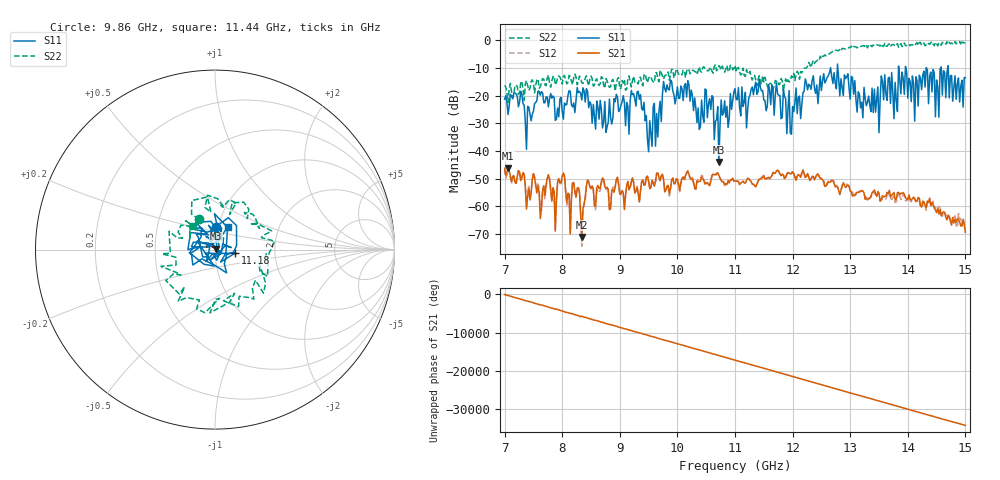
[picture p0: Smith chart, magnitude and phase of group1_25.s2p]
! 4/11/2025 3:28:49 PM
! C:\ANRITSUVNA\LELEC2350\LAB1_2025\GROUP1_25.S2P
! CHANNEL.1
! TR.MEASUREMENT
! CORRECTED.DATA
! RF.CORRECTION: FULL.TWO.PORT.CAL.PORT.1.2
! AVERAGING.OFF
! IF.BANDWIDTH: 300HZ
! SWEEPTYPE:  FREQ.SWEEP(Linear)
! Reference Plane Port Info
! PORT:  PORT1  PORT2
! DISTANCE:  0  m  0  m
! TIME:  0  s  0  s
! PHASE.OFFSET:  0 °  0 °
! LOSS:  0  dB  0  dB
! REF.LOSS:  0  dB  0  dB
! REF.FREQ:  0  Hz  0  Hz
! Power Info
! POWER:  5  dBm  5  dBm
! EFF.POWER:  5  dBm  5  dBm
# GHZ S RI R 50.0
! FREQ.GHZ  S11RE  S11IM  S21RE  S21IM  S12RE  S12IM  S22RE  S22IM
!; PortSelection: Port_12
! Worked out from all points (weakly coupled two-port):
!   401 points, 7 GHz to 15 GHz, reference 50 ohm
!   highest |S21| = -46.12 dB at 7.06 GHz (marker M1); lowest = -71.1 dB at 8.34 GHz (marker M2)
!   lowest |S11| = -43.9 dB at 10.72 GHz (marker M3), VSWR 1.01, Z = 50.4 + j0.509 ohm
!   |S11| at or under -10 dB: start of sweep to 12.66 GHz; 12.79 GHz to 13.84 GHz (1.054 GHz wide, 7.91 % of centre); 13.97 GHz to 14.32 GHz (353.5 MHz wide, 2.5 % of centre) (the widest 3 of 8)
!   |S22| runs from -22.4 to 0.0 dB; largest |S21 - S12| = 0.00048
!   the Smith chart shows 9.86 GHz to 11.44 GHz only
!   S11 on the Smith chart (normalised r, x): 9.86 GHz: 0.98, +0.25; 11.18 GHz: 1.25, -0.05; 11.44 GHz: 1.11, +0.28
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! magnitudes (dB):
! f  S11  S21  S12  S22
! 7 GHz  -21.2  -46.2  -46.7  -16.3
! 7.06 GHz  -26.8  -46.1  -46.7  -22.4
! 7.42 GHz  -24.2  -53.7  -52.4  -18.1
! 7.76 GHz  -24.0  -48.6  -48.6  -12.5
! 7.86 GHz  -20.7  -54.7  -55.3  -12.8
! 8 GHz  -25.6  -49.1  -49.6  -15.7
! 8.34 GHz  -21.5  -71.1  -74.4  -15.3
! 8.46 GHz  -24.3  -51.0  -51.4  -16.4
! 8.74 GHz  -22.1  -52.9  -52.8  -17.3
! 9.34 GHz  -21.3  -58.4  -58.5  -13.5
! 9.52 GHz  -29.0  -53.6  -53.4  -13.2
! 9.68 GHz  -25.6  -49.6  -49.4  -15.0
! 9.86 GHz  -17.9  -55.6  -56.3  -14.4
! 10.72 GHz  -43.9  -48.8  -48.7  -9.1
! 11 GHz  -17.4  -50.8  -51.5  -9.1
! 11.18 GHz  -18.8  -51.6  -51.6  -13.0
! 11.44 GHz  -16.9  -50.2  -50.1  -15.0
! 11.94 GHz  -18.1  -48.0  -48.1  -15.1
! 12.34 GHz  -14.5  -49.3  -49.1  -8.3
! 13.48 GHz  -16.8  -54.6  -55.5  -1.7
! 13.68 GHz  -13.3  -54.2  -56.0  -1.3
! 15 GHz  -13.5  -69.5  -65.6  -0.8
